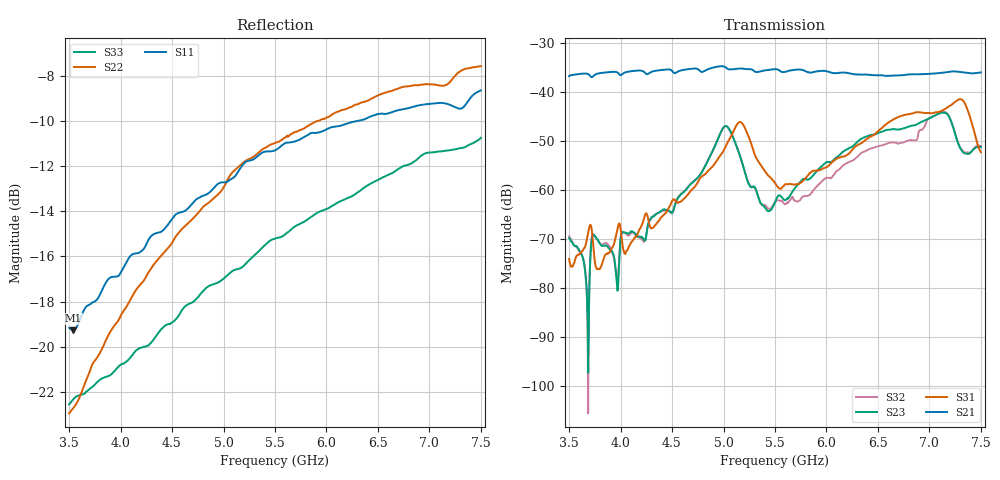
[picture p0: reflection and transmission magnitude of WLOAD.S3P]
!Agilent Technologies,E5071B,MY42403545,A.09.10
!Date: Thu Jul 11 07:09:11 2019
!Data & Calibration Information:
!Freq	S11:SOLT3(ON)	S12:SOLT3(ON)	S13:SOLT3(ON)
!	S21:SOLT3(ON)	S22:SOLT3(ON)	S23:SOLT3(ON)
!	S31:SOLT3(ON)	S32:SOLT3(ON)	S33:SOLT3(ON)
# Hz S dB R 50
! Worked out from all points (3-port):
!   801 points, 3.5 GHz to 7.5 GHz, reference 50 ohm
!   strongest paths, dB at 3.5 GHz, 4.5 GHz, 5.5 GHz, 6.5 GHz, 7.5 GHz:
!     S21: -36.8, -35.7, -35.4, -36.6, -36.0
!     S31: -74.0, -62.2, -58.6, -48.0, -52.3
!     S23: -69.8, -64.7, -62.5, -48.4, -51.3
!     S32: -69.4, -64.7, -62.5, -51.1, -51.1
!   lowest |S11| = -19.3 dB at 3.54 GHz (marker M1), VSWR 1.24, Z = 40.7 + j3.23 ohm
!   |S11| at or under -10 dB: start of sweep to 6.308 GHz
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3.5e9  -19.17 162.8  -36.76 -139.7  -74.63 41.7
       -36.79 -139.7  -22.95 143.4  -69.79 78.8
       -74.04 34.2  -69.44 75.5  -22.56 -135.0
3.54e9  -19.28 158.8  -36.45 -143.5  -74.51 67.5
        -36.53 -143.7  -22.72 139.5  -71.10 62.0
        -75.31 65.5  -70.88 55.6  -22.33 -138.1
3.965e9  -16.89 127.5  -35.94 -174.8  -68.61 35.2
         -36.00 -175.5  -18.92 105.4  -79.35 25.5
         -68.43 35.8  -78.01 36.5  -20.95 -170.6
4.02e9  -16.57 122.5  -36.22 -174.9  -71.44 -4.6
        -36.32 -174.9  -18.48 101.5  -68.54 44.3
        -71.38 -5.4  -68.59 44.3  -20.75 -174.3
5.02e9  -12.72 60.1  -35.05 113.4  -51.15 -65.7
        -35.00 112.3  -12.79 41.1  -46.96 -111.9
        -51.17 -65.4  -46.98 -111.7  -16.91 117.0
5.175e9  -12.02 51.3  -35.26 103.3  -46.24 -132.3
         -35.28 102.8  -11.91 29.4  -54.04 176.7
         -46.27 -132.3  -54.04 177.1  -16.50 108.4
5.5e9  -11.31 29.3  -35.41 83.0  -58.49 -178.9
       -35.37 83.0  -10.98 10.1  -62.49 -144.7
       -58.55 179.6  -62.53 -161.1  -15.22 89.9
7.105e9  -9.21 -68.4  -36.33 -15.5  -44.00 47.3
         -36.15 -16.1  -8.45 -79.5  -44.30 16.5
         -43.99 47.9  -44.28 17.1  -11.36 -0.2
7.295e9  -9.47 -77.8  -36.04 -31.7  -41.62 -17.1
         -35.93 -32.2  -7.82 -87.3  -51.26 -134.7
         -41.50 -17.3  -51.26 -133.1  -11.21 -10.0
7.5e9  -8.65 -89.0  -36.12 -46.6  -52.01 -171.5
       -36.04 -46.0  -7.58 -100.1  -51.26 100.5
       -52.30 -169.1  -51.05 100.5  -10.76 -20.5
